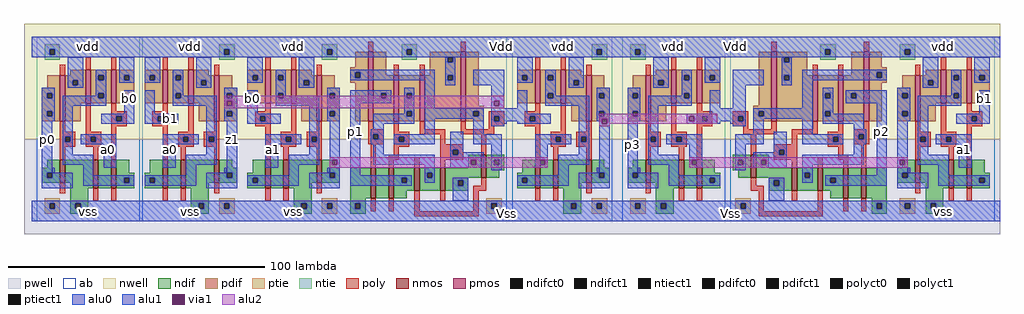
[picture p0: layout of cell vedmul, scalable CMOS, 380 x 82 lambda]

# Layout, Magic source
magic
tech scmos
<< ab >>
rect -34 5 6 77
rect 7 5 149 77
rect 151 5 190 77
rect 194 5 234 77
rect 236 5 339 77
<< nwell >>
rect -39 37 341 82
<< pwell >>
rect -39 0 341 37
<< poly >>
rect -25 62 -23 66
rect -15 64 -13 69
rect -5 64 -3 69
rect 15 64 17 69
rect 25 64 27 69
rect 95 71 97 75
rect 35 62 37 66
rect 55 64 57 69
rect 65 64 67 69
rect -25 40 -23 44
rect -15 40 -13 51
rect -5 48 -3 51
rect 15 48 17 51
rect -5 46 1 48
rect -5 44 -3 46
rect -1 44 1 46
rect -5 42 1 44
rect 11 46 17 48
rect 11 44 13 46
rect 15 44 17 46
rect 11 42 17 44
rect -25 38 -19 40
rect -25 36 -23 38
rect -21 36 -19 38
rect -25 34 -19 36
rect -15 38 -9 40
rect -15 36 -13 38
rect -11 36 -9 38
rect -15 34 -9 36
rect -25 29 -23 34
rect -12 29 -10 34
rect -5 29 -3 42
rect 15 29 17 42
rect 25 40 27 51
rect 75 62 77 66
rect 55 48 57 51
rect 51 46 57 48
rect 51 44 53 46
rect 55 44 57 46
rect 35 40 37 44
rect 51 42 57 44
rect 21 38 27 40
rect 21 36 23 38
rect 25 36 27 38
rect 21 34 27 36
rect 31 38 37 40
rect 31 36 33 38
rect 35 36 37 38
rect 31 34 37 36
rect 22 29 24 34
rect 35 29 37 34
rect 55 29 57 42
rect 65 40 67 51
rect 131 71 133 75
rect 105 62 107 66
rect 115 62 117 66
rect 160 64 162 69
rect 170 64 172 69
rect 252 71 254 75
rect 180 62 182 66
rect 203 62 205 66
rect 213 64 215 69
rect 223 64 225 69
rect 160 48 162 51
rect 142 46 148 48
rect 142 44 144 46
rect 146 44 148 46
rect 75 40 77 44
rect 61 38 67 40
rect 61 36 63 38
rect 65 36 67 38
rect 61 34 67 36
rect 71 38 77 40
rect 71 36 73 38
rect 75 36 77 38
rect 71 34 77 36
rect 95 41 97 44
rect 95 39 101 41
rect 95 37 97 39
rect 99 37 101 39
rect 95 35 101 37
rect 105 40 107 44
rect 115 41 117 44
rect 131 41 133 44
rect 142 42 148 44
rect 156 46 162 48
rect 156 44 158 46
rect 160 44 162 46
rect 156 42 162 44
rect 142 41 144 42
rect 105 38 111 40
rect 115 39 125 41
rect 131 39 144 41
rect 105 36 107 38
rect 109 36 111 38
rect 62 29 64 34
rect 75 29 77 34
rect -25 16 -23 20
rect -12 13 -10 18
rect -5 13 -3 18
rect 15 13 17 18
rect 22 13 24 18
rect 35 16 37 20
rect 96 26 98 35
rect 105 34 111 36
rect 123 35 125 39
rect 105 31 107 34
rect 103 29 107 31
rect 123 33 132 35
rect 123 31 128 33
rect 130 31 132 33
rect 139 31 141 39
rect 103 26 105 29
rect 113 26 115 30
rect 123 29 132 31
rect 123 26 125 29
rect 55 13 57 18
rect 62 13 64 18
rect 75 16 77 20
rect 160 29 162 42
rect 170 40 172 51
rect 180 40 182 44
rect 166 38 172 40
rect 166 36 168 38
rect 170 36 172 38
rect 166 34 172 36
rect 176 38 182 40
rect 176 36 178 38
rect 180 36 182 38
rect 176 34 182 36
rect 167 29 169 34
rect 180 29 182 34
rect 203 40 205 44
rect 213 40 215 51
rect 223 48 225 51
rect 223 46 229 48
rect 223 44 225 46
rect 227 44 229 46
rect 223 42 229 44
rect 237 46 243 48
rect 237 44 239 46
rect 241 44 243 46
rect 288 71 290 75
rect 268 62 270 66
rect 278 62 280 66
rect 308 62 310 66
rect 318 64 320 69
rect 328 64 330 69
rect 237 42 243 44
rect 203 38 209 40
rect 203 36 205 38
rect 207 36 209 38
rect 203 34 209 36
rect 213 38 219 40
rect 213 36 215 38
rect 217 36 219 38
rect 213 34 219 36
rect 203 29 205 34
rect 216 29 218 34
rect 223 29 225 42
rect 241 41 243 42
rect 252 41 254 44
rect 268 41 270 44
rect 241 39 254 41
rect 260 39 270 41
rect 278 40 280 44
rect 288 41 290 44
rect 244 31 246 39
rect 260 35 262 39
rect 253 33 262 35
rect 274 38 280 40
rect 274 36 276 38
rect 278 36 280 38
rect 274 34 280 36
rect 284 39 290 41
rect 284 37 286 39
rect 288 37 290 39
rect 284 35 290 37
rect 308 40 310 44
rect 318 40 320 51
rect 328 48 330 51
rect 328 46 334 48
rect 328 44 330 46
rect 332 44 334 46
rect 328 42 334 44
rect 308 38 314 40
rect 308 36 310 38
rect 312 36 314 38
rect 253 31 255 33
rect 257 31 262 33
rect 139 19 141 22
rect 136 17 141 19
rect 96 9 98 14
rect 103 9 105 14
rect 113 9 115 17
rect 123 13 125 17
rect 136 9 138 17
rect 113 7 138 9
rect 160 13 162 18
rect 167 13 169 18
rect 180 16 182 20
rect 203 16 205 20
rect 253 29 262 31
rect 278 31 280 34
rect 260 26 262 29
rect 270 26 272 30
rect 278 29 282 31
rect 280 26 282 29
rect 287 26 289 35
rect 308 34 314 36
rect 318 38 324 40
rect 318 36 320 38
rect 322 36 324 38
rect 318 34 324 36
rect 308 29 310 34
rect 321 29 323 34
rect 328 29 330 42
rect 244 19 246 22
rect 216 13 218 18
rect 223 13 225 18
rect 244 17 249 19
rect 247 9 249 17
rect 260 13 262 17
rect 270 9 272 17
rect 308 16 310 20
rect 280 9 282 14
rect 287 9 289 14
rect 247 7 272 9
rect 321 13 323 18
rect 328 13 330 18
<< ndif >>
rect -30 26 -25 29
rect -32 24 -25 26
rect -32 22 -30 24
rect -28 22 -25 24
rect -32 20 -25 22
rect -23 20 -12 29
rect -21 18 -12 20
rect -10 18 -5 29
rect -3 24 2 29
rect 10 24 15 29
rect -3 22 4 24
rect -3 20 0 22
rect 2 20 4 22
rect -3 18 4 20
rect 8 22 15 24
rect 8 20 10 22
rect 12 20 15 22
rect 8 18 15 20
rect 17 18 22 29
rect 24 20 35 29
rect 37 26 42 29
rect 37 24 44 26
rect 50 24 55 29
rect 37 22 40 24
rect 42 22 44 24
rect 37 20 44 22
rect 48 22 55 24
rect 48 20 50 22
rect 52 20 55 22
rect 24 18 33 20
rect -21 12 -14 18
rect -21 10 -19 12
rect -17 10 -14 12
rect -21 8 -14 10
rect 26 12 33 18
rect 48 18 55 20
rect 57 18 62 29
rect 64 20 75 29
rect 77 26 82 29
rect 134 26 139 31
rect 77 24 84 26
rect 77 22 80 24
rect 82 22 84 24
rect 77 20 84 22
rect 64 18 73 20
rect 26 10 29 12
rect 31 10 33 12
rect 26 8 33 10
rect 66 12 73 18
rect 88 14 96 26
rect 98 14 103 26
rect 105 22 113 26
rect 105 20 108 22
rect 110 20 113 22
rect 105 17 113 20
rect 115 24 123 26
rect 115 22 118 24
rect 120 22 123 24
rect 115 17 123 22
rect 125 22 139 26
rect 141 29 148 31
rect 237 29 244 31
rect 141 27 144 29
rect 146 27 148 29
rect 141 25 148 27
rect 141 22 146 25
rect 155 24 160 29
rect 153 22 160 24
rect 125 21 134 22
rect 125 19 130 21
rect 132 19 134 21
rect 125 17 134 19
rect 153 20 155 22
rect 157 20 160 22
rect 153 18 160 20
rect 162 18 167 29
rect 169 20 180 29
rect 182 26 187 29
rect 198 26 203 29
rect 182 24 189 26
rect 182 22 185 24
rect 187 22 189 24
rect 182 20 189 22
rect 196 24 203 26
rect 196 22 198 24
rect 200 22 203 24
rect 196 20 203 22
rect 205 20 216 29
rect 169 18 178 20
rect 105 14 110 17
rect 66 10 69 12
rect 71 10 73 12
rect 66 8 73 10
rect 88 12 94 14
rect 88 10 90 12
rect 92 10 94 12
rect 88 8 94 10
rect 171 12 178 18
rect 207 18 216 20
rect 218 18 223 29
rect 225 24 230 29
rect 237 27 239 29
rect 241 27 244 29
rect 237 25 244 27
rect 225 22 232 24
rect 239 22 244 25
rect 246 26 251 31
rect 303 26 308 29
rect 246 22 260 26
rect 225 20 228 22
rect 230 20 232 22
rect 225 18 232 20
rect 251 21 260 22
rect 251 19 253 21
rect 255 19 260 21
rect 171 10 174 12
rect 176 10 178 12
rect 171 8 178 10
rect 207 12 214 18
rect 251 17 260 19
rect 262 24 270 26
rect 262 22 265 24
rect 267 22 270 24
rect 262 17 270 22
rect 272 22 280 26
rect 272 20 275 22
rect 277 20 280 22
rect 272 17 280 20
rect 207 10 209 12
rect 211 10 214 12
rect 207 8 214 10
rect 275 14 280 17
rect 282 14 287 26
rect 289 14 297 26
rect 301 24 308 26
rect 301 22 303 24
rect 305 22 308 24
rect 301 20 308 22
rect 310 20 321 29
rect 312 18 321 20
rect 323 18 328 29
rect 330 24 335 29
rect 330 22 337 24
rect 330 20 333 22
rect 335 20 337 22
rect 330 18 337 20
rect 291 12 297 14
rect 291 10 293 12
rect 295 10 297 12
rect 291 8 297 10
rect 312 12 319 18
rect 312 10 314 12
rect 316 10 319 12
rect 312 8 319 10
<< pdif >>
rect -21 62 -15 64
rect -30 57 -25 62
rect -32 55 -25 57
rect -32 53 -30 55
rect -28 53 -25 55
rect -32 48 -25 53
rect -32 46 -30 48
rect -28 46 -25 48
rect -32 44 -25 46
rect -23 60 -15 62
rect -23 58 -20 60
rect -18 58 -15 60
rect -23 51 -15 58
rect -13 62 -5 64
rect -13 60 -10 62
rect -8 60 -5 62
rect -13 55 -5 60
rect -13 53 -10 55
rect -8 53 -5 55
rect -13 51 -5 53
rect -3 62 4 64
rect -3 60 0 62
rect 2 60 4 62
rect -3 51 4 60
rect 8 62 15 64
rect 8 60 10 62
rect 12 60 15 62
rect 8 51 15 60
rect 17 62 25 64
rect 17 60 20 62
rect 22 60 25 62
rect 17 55 25 60
rect 17 53 20 55
rect 22 53 25 55
rect 17 51 25 53
rect 27 62 33 64
rect 48 62 55 64
rect 27 60 35 62
rect 27 58 30 60
rect 32 58 35 60
rect 27 51 35 58
rect -23 44 -17 51
rect 29 44 35 51
rect 37 57 42 62
rect 48 60 50 62
rect 52 60 55 62
rect 37 55 44 57
rect 37 53 40 55
rect 42 53 44 55
rect 37 48 44 53
rect 48 51 55 60
rect 57 62 65 64
rect 57 60 60 62
rect 62 60 65 62
rect 57 55 65 60
rect 57 53 60 55
rect 62 53 65 55
rect 57 51 65 53
rect 67 62 73 64
rect 90 65 95 71
rect 88 63 95 65
rect 67 60 75 62
rect 67 58 70 60
rect 72 58 75 60
rect 67 51 75 58
rect 37 46 40 48
rect 42 46 44 48
rect 37 44 44 46
rect 69 44 75 51
rect 77 57 82 62
rect 88 61 90 63
rect 92 61 95 63
rect 88 59 95 61
rect 77 55 84 57
rect 77 53 80 55
rect 82 53 84 55
rect 77 48 84 53
rect 77 46 80 48
rect 82 46 84 48
rect 77 44 84 46
rect 90 44 95 59
rect 97 62 102 71
rect 119 69 131 71
rect 119 67 126 69
rect 128 67 131 69
rect 119 62 131 67
rect 97 55 105 62
rect 97 53 100 55
rect 102 53 105 55
rect 97 44 105 53
rect 107 55 115 62
rect 107 53 110 55
rect 112 53 115 55
rect 107 48 115 53
rect 107 46 110 48
rect 112 46 115 48
rect 107 44 115 46
rect 117 60 126 62
rect 128 60 131 62
rect 117 44 131 60
rect 133 50 138 71
rect 153 62 160 64
rect 153 60 155 62
rect 157 60 160 62
rect 153 51 160 60
rect 162 62 170 64
rect 162 60 165 62
rect 167 60 170 62
rect 162 55 170 60
rect 162 53 165 55
rect 167 53 170 55
rect 162 51 170 53
rect 172 62 178 64
rect 207 62 213 64
rect 172 60 180 62
rect 172 58 175 60
rect 177 58 180 60
rect 172 51 180 58
rect 133 48 140 50
rect 133 46 136 48
rect 138 46 140 48
rect 133 44 140 46
rect 174 44 180 51
rect 182 57 187 62
rect 198 57 203 62
rect 182 55 189 57
rect 182 53 185 55
rect 187 53 189 55
rect 182 48 189 53
rect 182 46 185 48
rect 187 46 189 48
rect 182 44 189 46
rect 196 55 203 57
rect 196 53 198 55
rect 200 53 203 55
rect 196 48 203 53
rect 196 46 198 48
rect 200 46 203 48
rect 196 44 203 46
rect 205 60 213 62
rect 205 58 208 60
rect 210 58 213 60
rect 205 51 213 58
rect 215 62 223 64
rect 215 60 218 62
rect 220 60 223 62
rect 215 55 223 60
rect 215 53 218 55
rect 220 53 223 55
rect 215 51 223 53
rect 225 62 232 64
rect 225 60 228 62
rect 230 60 232 62
rect 225 51 232 60
rect 205 44 211 51
rect 247 50 252 71
rect 245 48 252 50
rect 245 46 247 48
rect 249 46 252 48
rect 245 44 252 46
rect 254 69 266 71
rect 254 67 257 69
rect 259 67 266 69
rect 254 62 266 67
rect 283 62 288 71
rect 254 60 257 62
rect 259 60 268 62
rect 254 44 268 60
rect 270 55 278 62
rect 270 53 273 55
rect 275 53 278 55
rect 270 48 278 53
rect 270 46 273 48
rect 275 46 278 48
rect 270 44 278 46
rect 280 55 288 62
rect 280 53 283 55
rect 285 53 288 55
rect 280 44 288 53
rect 290 65 295 71
rect 290 63 297 65
rect 290 61 293 63
rect 295 61 297 63
rect 312 62 318 64
rect 290 59 297 61
rect 290 44 295 59
rect 303 57 308 62
rect 301 55 308 57
rect 301 53 303 55
rect 305 53 308 55
rect 301 48 308 53
rect 301 46 303 48
rect 305 46 308 48
rect 301 44 308 46
rect 310 60 318 62
rect 310 58 313 60
rect 315 58 318 60
rect 310 51 318 58
rect 320 62 328 64
rect 320 60 323 62
rect 325 60 328 62
rect 320 55 328 60
rect 320 53 323 55
rect 325 53 328 55
rect 320 51 328 53
rect 330 62 337 64
rect 330 60 333 62
rect 335 60 337 62
rect 330 51 337 60
rect 310 44 316 51
<< alu1 >>
rect -36 72 341 77
rect -36 70 -29 72
rect -27 70 39 72
rect 41 70 79 72
rect 81 70 110 72
rect 112 70 184 72
rect 186 70 199 72
rect 201 70 273 72
rect 275 70 304 72
rect 306 70 341 72
rect -36 69 341 70
rect -32 55 -27 57
rect -32 53 -30 55
rect -28 53 -27 55
rect -32 48 -27 53
rect -32 46 -30 48
rect -28 46 -27 48
rect -32 44 -27 46
rect -32 24 -28 44
rect 0 47 4 56
rect -9 46 4 47
rect -9 44 -3 46
rect -1 44 4 46
rect -9 43 4 44
rect 8 47 12 56
rect 39 55 44 57
rect 8 46 21 47
rect 8 44 13 46
rect 15 44 21 46
rect 8 43 21 44
rect -17 38 -3 39
rect -17 36 -13 38
rect -11 36 -3 38
rect -17 35 -3 36
rect -32 22 -30 24
rect -28 22 -20 24
rect -32 18 -20 22
rect -8 26 -3 35
rect 15 38 29 39
rect 15 36 23 38
rect 25 36 29 38
rect 15 35 29 36
rect 39 53 40 55
rect 42 53 44 55
rect 39 52 44 53
rect 39 50 40 52
rect 42 50 44 52
rect 39 48 44 50
rect 39 46 40 48
rect 42 46 44 48
rect 39 44 44 46
rect 15 26 20 35
rect 40 24 44 44
rect 48 47 52 56
rect 79 55 84 57
rect 48 46 61 47
rect 48 44 53 46
rect 55 44 61 46
rect 48 43 61 44
rect 55 38 69 39
rect 55 36 63 38
rect 65 36 69 38
rect 55 35 69 36
rect 79 53 80 55
rect 82 53 84 55
rect 79 48 84 53
rect 79 46 80 48
rect 82 46 84 48
rect 79 44 84 46
rect 55 26 60 35
rect 80 29 84 44
rect 80 27 81 29
rect 83 27 84 29
rect 32 22 40 24
rect 42 22 44 24
rect 80 24 84 27
rect 32 18 44 22
rect 72 22 80 24
rect 82 22 84 24
rect 72 18 84 22
rect 88 55 104 56
rect 88 53 100 55
rect 102 53 104 55
rect 88 51 104 53
rect 88 23 92 51
rect 136 58 148 64
rect 143 52 148 58
rect 143 50 144 52
rect 146 50 148 52
rect 143 49 148 50
rect 153 49 157 56
rect 184 55 189 57
rect 127 33 132 40
rect 143 47 157 49
rect 143 46 166 47
rect 143 44 144 46
rect 146 44 158 46
rect 160 44 166 46
rect 143 43 149 44
rect 153 43 166 44
rect 143 42 148 43
rect 127 31 128 33
rect 130 32 132 33
rect 130 31 140 32
rect 127 29 140 31
rect 127 27 135 29
rect 137 27 140 29
rect 127 26 140 27
rect 160 38 174 39
rect 160 36 168 38
rect 170 36 174 38
rect 160 35 174 36
rect 184 53 185 55
rect 187 53 189 55
rect 184 48 189 53
rect 184 46 185 48
rect 187 46 189 48
rect 184 45 189 46
rect 184 44 186 45
rect 160 29 165 35
rect 160 27 162 29
rect 164 27 165 29
rect 160 26 165 27
rect 185 43 186 44
rect 188 43 189 45
rect 88 22 112 23
rect 88 20 108 22
rect 110 20 112 22
rect 185 24 189 43
rect 88 19 112 20
rect 177 22 185 24
rect 187 22 189 24
rect 177 18 189 22
rect 196 55 201 57
rect 196 53 198 55
rect 200 53 201 55
rect 237 58 249 64
rect 196 48 201 53
rect 196 46 198 48
rect 200 46 201 48
rect 196 44 201 46
rect 196 24 200 44
rect 228 49 232 56
rect 237 49 242 58
rect 228 47 242 49
rect 219 46 242 47
rect 219 44 220 46
rect 222 44 225 46
rect 227 44 239 46
rect 241 44 242 46
rect 219 43 232 44
rect 236 43 242 44
rect 237 42 242 43
rect 211 38 225 39
rect 211 36 215 38
rect 217 36 225 38
rect 211 35 225 36
rect 196 22 198 24
rect 200 22 208 24
rect 196 18 208 22
rect 220 29 225 35
rect 220 27 221 29
rect 223 27 225 29
rect 220 26 225 27
rect 253 33 258 40
rect 281 55 297 56
rect 281 53 283 55
rect 285 53 297 55
rect 281 51 297 53
rect 253 32 255 33
rect 245 31 255 32
rect 257 31 258 33
rect 245 29 258 31
rect 245 27 248 29
rect 250 27 258 29
rect 245 26 258 27
rect 293 23 297 51
rect 273 22 297 23
rect 273 20 275 22
rect 277 20 297 22
rect 273 19 297 20
rect 301 55 306 57
rect 301 53 303 55
rect 305 53 306 55
rect 301 48 306 53
rect 301 46 303 48
rect 305 46 306 48
rect 301 44 306 46
rect 301 29 305 44
rect 301 27 302 29
rect 304 27 305 29
rect 333 47 337 56
rect 324 46 337 47
rect 324 44 330 46
rect 332 44 337 46
rect 324 43 337 44
rect 316 38 330 39
rect 316 36 320 38
rect 322 36 330 38
rect 316 35 330 36
rect 301 24 305 27
rect 301 22 303 24
rect 305 22 313 24
rect 301 18 313 22
rect 325 26 330 35
rect -36 12 341 13
rect -36 10 -29 12
rect -27 10 -19 12
rect -17 10 29 12
rect 31 10 39 12
rect 41 10 69 12
rect 71 10 79 12
rect 81 10 90 12
rect 92 10 143 12
rect 145 10 174 12
rect 176 10 184 12
rect 186 10 199 12
rect 201 10 209 12
rect 211 10 240 12
rect 242 10 293 12
rect 295 10 304 12
rect 306 10 314 12
rect 316 10 341 12
rect -36 5 341 10
<< alu2 >>
rect 39 52 148 54
rect 39 50 40 52
rect 42 50 144 52
rect 146 50 148 52
rect 39 49 148 50
rect 185 46 231 47
rect 185 45 220 46
rect 185 43 186 45
rect 188 44 220 45
rect 222 44 231 46
rect 188 43 231 44
rect 185 42 189 43
rect 80 29 165 30
rect 80 27 81 29
rect 83 27 135 29
rect 137 27 162 29
rect 164 27 165 29
rect 80 26 165 27
rect 220 29 305 30
rect 220 27 221 29
rect 223 27 248 29
rect 250 27 302 29
rect 304 27 305 29
rect 220 26 305 27
<< ptie >>
rect -31 12 -25 14
rect -31 10 -29 12
rect -27 10 -25 12
rect -31 8 -25 10
rect 37 12 43 14
rect 37 10 39 12
rect 41 10 43 12
rect 37 8 43 10
rect 77 12 83 14
rect 77 10 79 12
rect 81 10 83 12
rect 77 8 83 10
rect 141 12 147 14
rect 141 10 143 12
rect 145 10 147 12
rect 141 8 147 10
rect 182 12 188 14
rect 182 10 184 12
rect 186 10 188 12
rect 182 8 188 10
rect 197 12 203 14
rect 197 10 199 12
rect 201 10 203 12
rect 197 8 203 10
rect 238 12 244 14
rect 238 10 240 12
rect 242 10 244 12
rect 238 8 244 10
rect 302 12 308 14
rect 302 10 304 12
rect 306 10 308 12
rect 302 8 308 10
<< ntie >>
rect -31 72 -25 74
rect -31 70 -29 72
rect -27 70 -25 72
rect -31 68 -25 70
rect 37 72 43 74
rect 37 70 39 72
rect 41 70 43 72
rect 37 68 43 70
rect 77 72 83 74
rect 77 70 79 72
rect 81 70 83 72
rect 108 72 114 74
rect 77 68 83 70
rect 108 70 110 72
rect 112 70 114 72
rect 182 72 188 74
rect 108 68 114 70
rect 182 70 184 72
rect 186 70 188 72
rect 182 68 188 70
rect 197 72 203 74
rect 197 70 199 72
rect 201 70 203 72
rect 271 72 277 74
rect 197 68 203 70
rect 271 70 273 72
rect 275 70 277 72
rect 302 72 308 74
rect 271 68 277 70
rect 302 70 304 72
rect 306 70 308 72
rect 302 68 308 70
<< nmos >>
rect -25 20 -23 29
rect -12 18 -10 29
rect -5 18 -3 29
rect 15 18 17 29
rect 22 18 24 29
rect 35 20 37 29
rect 55 18 57 29
rect 62 18 64 29
rect 75 20 77 29
rect 96 14 98 26
rect 103 14 105 26
rect 113 17 115 26
rect 123 17 125 26
rect 139 22 141 31
rect 160 18 162 29
rect 167 18 169 29
rect 180 20 182 29
rect 203 20 205 29
rect 216 18 218 29
rect 223 18 225 29
rect 244 22 246 31
rect 260 17 262 26
rect 270 17 272 26
rect 280 14 282 26
rect 287 14 289 26
rect 308 20 310 29
rect 321 18 323 29
rect 328 18 330 29
<< pmos >>
rect -25 44 -23 62
rect -15 51 -13 64
rect -5 51 -3 64
rect 15 51 17 64
rect 25 51 27 64
rect 35 44 37 62
rect 55 51 57 64
rect 65 51 67 64
rect 75 44 77 62
rect 95 44 97 71
rect 105 44 107 62
rect 115 44 117 62
rect 131 44 133 71
rect 160 51 162 64
rect 170 51 172 64
rect 180 44 182 62
rect 203 44 205 62
rect 213 51 215 64
rect 223 51 225 64
rect 252 44 254 71
rect 268 44 270 62
rect 278 44 280 62
rect 288 44 290 71
rect 308 44 310 62
rect 318 51 320 64
rect 328 51 330 64
<< polyct0 >>
rect -23 36 -21 38
rect 33 36 35 38
rect 73 36 75 38
rect 97 37 99 39
rect 107 36 109 38
rect 178 36 180 38
rect 205 36 207 38
rect 276 36 278 38
rect 286 37 288 39
rect 310 36 312 38
<< polyct1 >>
rect -3 44 -1 46
rect 13 44 15 46
rect -13 36 -11 38
rect 53 44 55 46
rect 23 36 25 38
rect 144 44 146 46
rect 63 36 65 38
rect 158 44 160 46
rect 128 31 130 33
rect 168 36 170 38
rect 225 44 227 46
rect 239 44 241 46
rect 215 36 217 38
rect 330 44 332 46
rect 255 31 257 33
rect 320 36 322 38
<< ndifct0 >>
rect 0 20 2 22
rect 10 20 12 22
rect 50 20 52 22
rect 118 22 120 24
rect 144 27 146 29
rect 130 19 132 21
rect 155 20 157 22
rect 239 27 241 29
rect 228 20 230 22
rect 253 19 255 21
rect 265 22 267 24
rect 333 20 335 22
<< ndifct1 >>
rect -30 22 -28 24
rect 40 22 42 24
rect -19 10 -17 12
rect 80 22 82 24
rect 29 10 31 12
rect 108 20 110 22
rect 185 22 187 24
rect 198 22 200 24
rect 69 10 71 12
rect 90 10 92 12
rect 174 10 176 12
rect 275 20 277 22
rect 209 10 211 12
rect 303 22 305 24
rect 293 10 295 12
rect 314 10 316 12
<< ntiect1 >>
rect -29 70 -27 72
rect 39 70 41 72
rect 79 70 81 72
rect 110 70 112 72
rect 184 70 186 72
rect 199 70 201 72
rect 273 70 275 72
rect 304 70 306 72
<< ptiect1 >>
rect -29 10 -27 12
rect 39 10 41 12
rect 79 10 81 12
rect 143 10 145 12
rect 184 10 186 12
rect 199 10 201 12
rect 240 10 242 12
rect 304 10 306 12
<< pdifct0 >>
rect -20 58 -18 60
rect -10 60 -8 62
rect -10 53 -8 55
rect 0 60 2 62
rect 10 60 12 62
rect 20 60 22 62
rect 20 53 22 55
rect 30 58 32 60
rect 50 60 52 62
rect 60 60 62 62
rect 60 53 62 55
rect 70 58 72 60
rect 90 61 92 63
rect 126 67 128 69
rect 110 53 112 55
rect 110 46 112 48
rect 126 60 128 62
rect 155 60 157 62
rect 165 60 167 62
rect 165 53 167 55
rect 175 58 177 60
rect 136 46 138 48
rect 208 58 210 60
rect 218 60 220 62
rect 218 53 220 55
rect 228 60 230 62
rect 247 46 249 48
rect 257 67 259 69
rect 257 60 259 62
rect 273 53 275 55
rect 273 46 275 48
rect 293 61 295 63
rect 313 58 315 60
rect 323 60 325 62
rect 323 53 325 55
rect 333 60 335 62
<< pdifct1 >>
rect -30 53 -28 55
rect -30 46 -28 48
rect 40 53 42 55
rect 40 46 42 48
rect 80 53 82 55
rect 80 46 82 48
rect 100 53 102 55
rect 185 53 187 55
rect 185 46 187 48
rect 198 53 200 55
rect 198 46 200 48
rect 283 53 285 55
rect 303 53 305 55
rect 303 46 305 48
<< alu0 >>
rect -22 60 -16 69
rect -22 58 -20 60
rect -18 58 -16 60
rect -22 57 -16 58
rect -11 62 -7 64
rect -11 60 -10 62
rect -8 60 -7 62
rect -11 55 -7 60
rect -2 62 4 69
rect -2 60 0 62
rect 2 60 4 62
rect -2 59 4 60
rect 8 62 14 69
rect 8 60 10 62
rect 12 60 14 62
rect 8 59 14 60
rect 19 62 23 64
rect 19 60 20 62
rect 22 60 23 62
rect -11 54 -10 55
rect -24 53 -10 54
rect -8 53 -7 55
rect -24 50 -7 53
rect -24 38 -20 50
rect 19 55 23 60
rect 28 60 34 69
rect 28 58 30 60
rect 32 58 34 60
rect 48 62 54 69
rect 48 60 50 62
rect 52 60 54 62
rect 48 59 54 60
rect 59 62 63 64
rect 59 60 60 62
rect 62 60 63 62
rect 28 57 34 58
rect 19 53 20 55
rect 22 54 23 55
rect 22 53 36 54
rect 19 50 36 53
rect -24 36 -23 38
rect -21 36 -20 38
rect -24 31 -20 36
rect -24 27 -12 31
rect -28 24 -27 26
rect -16 23 -12 27
rect 32 38 36 50
rect 32 36 33 38
rect 35 36 36 38
rect 32 31 36 36
rect 24 27 36 31
rect 24 23 28 27
rect 39 24 40 26
rect 59 55 63 60
rect 68 60 74 69
rect 125 67 126 69
rect 128 67 129 69
rect 88 63 121 64
rect 88 61 90 63
rect 92 61 121 63
rect 88 60 121 61
rect 68 58 70 60
rect 72 58 74 60
rect 68 57 74 58
rect 59 53 60 55
rect 62 54 63 55
rect 62 53 76 54
rect 59 50 76 53
rect 72 38 76 50
rect 72 36 73 38
rect 75 36 76 38
rect 72 31 76 36
rect 64 27 76 31
rect -16 22 4 23
rect -16 20 0 22
rect 2 20 4 22
rect -16 19 4 20
rect 8 22 28 23
rect 8 20 10 22
rect 12 20 28 22
rect 8 19 28 20
rect 64 23 68 27
rect 79 24 80 26
rect 48 22 68 23
rect 48 20 50 22
rect 52 20 68 22
rect 48 19 68 20
rect 109 55 113 57
rect 109 53 110 55
rect 112 53 113 55
rect 109 48 113 53
rect 109 47 110 48
rect 97 46 110 47
rect 112 46 113 48
rect 97 43 113 46
rect 117 49 121 60
rect 125 62 129 67
rect 125 60 126 62
rect 128 60 129 62
rect 125 58 129 60
rect 153 62 159 69
rect 153 60 155 62
rect 157 60 159 62
rect 153 59 159 60
rect 164 62 168 64
rect 164 60 165 62
rect 167 60 168 62
rect 164 55 168 60
rect 173 60 179 69
rect 173 58 175 60
rect 177 58 179 60
rect 173 57 179 58
rect 206 60 212 69
rect 206 58 208 60
rect 210 58 212 60
rect 206 57 212 58
rect 217 62 221 64
rect 217 60 218 62
rect 220 60 221 62
rect 164 53 165 55
rect 167 54 168 55
rect 167 53 181 54
rect 164 50 181 53
rect 117 48 140 49
rect 117 46 136 48
rect 138 46 140 48
rect 117 45 140 46
rect 97 41 101 43
rect 96 39 101 41
rect 117 39 121 45
rect 96 37 97 39
rect 99 37 101 39
rect 96 35 101 37
rect 105 38 121 39
rect 105 36 107 38
rect 109 36 121 38
rect 105 35 121 36
rect 97 31 101 35
rect 136 39 140 45
rect 136 35 147 39
rect 97 27 121 31
rect 117 24 121 27
rect 143 29 147 35
rect 143 27 144 29
rect 146 27 147 29
rect 143 25 147 27
rect 177 38 181 50
rect 177 36 178 38
rect 180 36 181 38
rect 177 31 181 36
rect 169 27 181 31
rect 117 22 118 24
rect 120 22 121 24
rect 169 23 173 27
rect 184 24 185 26
rect 153 22 173 23
rect 117 20 121 22
rect 128 21 134 22
rect 128 19 130 21
rect 132 19 134 21
rect 153 20 155 22
rect 157 20 173 22
rect 153 19 173 20
rect 128 13 134 19
rect 217 55 221 60
rect 226 62 232 69
rect 256 67 257 69
rect 259 67 260 69
rect 226 60 228 62
rect 230 60 232 62
rect 226 59 232 60
rect 256 62 260 67
rect 256 60 257 62
rect 259 60 260 62
rect 256 58 260 60
rect 264 63 297 64
rect 264 61 293 63
rect 295 61 297 63
rect 264 60 297 61
rect 311 60 317 69
rect 217 54 218 55
rect 204 53 218 54
rect 220 53 221 55
rect 204 50 221 53
rect 204 38 208 50
rect 264 49 268 60
rect 311 58 313 60
rect 315 58 317 60
rect 311 57 317 58
rect 322 62 326 64
rect 322 60 323 62
rect 325 60 326 62
rect 245 48 268 49
rect 245 46 247 48
rect 249 46 268 48
rect 245 45 268 46
rect 245 39 249 45
rect 204 36 205 38
rect 207 36 208 38
rect 204 31 208 36
rect 204 27 216 31
rect 200 24 201 26
rect 212 23 216 27
rect 238 35 249 39
rect 238 29 242 35
rect 264 39 268 45
rect 272 55 276 57
rect 272 53 273 55
rect 275 53 276 55
rect 272 48 276 53
rect 272 46 273 48
rect 275 47 276 48
rect 275 46 288 47
rect 272 43 288 46
rect 284 41 288 43
rect 284 39 289 41
rect 264 38 280 39
rect 264 36 276 38
rect 278 36 280 38
rect 264 35 280 36
rect 284 37 286 39
rect 288 37 289 39
rect 284 35 289 37
rect 238 27 239 29
rect 241 27 242 29
rect 238 25 242 27
rect 284 31 288 35
rect 264 27 288 31
rect 264 24 268 27
rect 212 22 232 23
rect 264 22 265 24
rect 267 22 268 24
rect 212 20 228 22
rect 230 20 232 22
rect 212 19 232 20
rect 251 21 257 22
rect 251 19 253 21
rect 255 19 257 21
rect 264 20 268 22
rect 322 55 326 60
rect 331 62 337 69
rect 331 60 333 62
rect 335 60 337 62
rect 331 59 337 60
rect 322 54 323 55
rect 309 53 323 54
rect 325 53 326 55
rect 309 50 326 53
rect 309 38 313 50
rect 309 36 310 38
rect 312 36 313 38
rect 309 31 313 36
rect 309 27 321 31
rect 305 24 306 26
rect 251 13 257 19
rect 317 23 321 27
rect 317 22 337 23
rect 317 20 333 22
rect 335 20 337 22
rect 317 19 337 20
<< via1 >>
rect 40 50 42 52
rect 81 27 83 29
rect 144 50 146 52
rect 135 27 137 29
rect 162 27 164 29
rect 186 43 188 45
rect 220 44 222 46
rect 221 27 223 29
rect 248 27 250 29
rect 302 27 304 29
<< labels >>
rlabel alu1 238 73 238 73 1 Vdd
rlabel alu1 214 73 214 73 6 vdd
rlabel alu1 236 8 236 8 1 Vss
rlabel alu1 149 8 149 8 1 Vss
rlabel alu1 171 73 171 73 4 vdd
rlabel alu1 147 73 147 73 1 Vdd
rlabel alu1 66 9 66 9 4 vss
rlabel alu1 66 73 66 73 4 vdd
rlabel alu1 26 73 26 73 4 vdd
rlabel alu1 26 9 26 9 4 vss
rlabel alu1 319 73 319 73 6 vdd
rlabel alu1 319 9 319 9 6 vss
rlabel alu1 50 53 50 53 1 b0
rlabel alu1 58 33 58 33 1 a1
rlabel alu1 42 37 42 37 1 z1
rlabel alu1 18 33 18 33 1 a0
rlabel alu1 18 45 18 45 1 b1
rlabel alu1 90 40 90 40 1 p1
rlabel alu1 327 33 327 33 1 a1
rlabel alu1 335 53 335 53 1 b1
rlabel alu1 295 40 295 40 1 p2
rlabel alu1 198 35 198 35 1 p3
rlabel alu1 -14 73 -14 73 6 vdd
rlabel alu1 -14 9 -14 9 6 vss
rlabel alu1 2 53 2 53 1 b0
rlabel alu1 -6 33 -6 33 1 a0
rlabel alu1 -30 37 -30 37 1 p0
<< end >>
